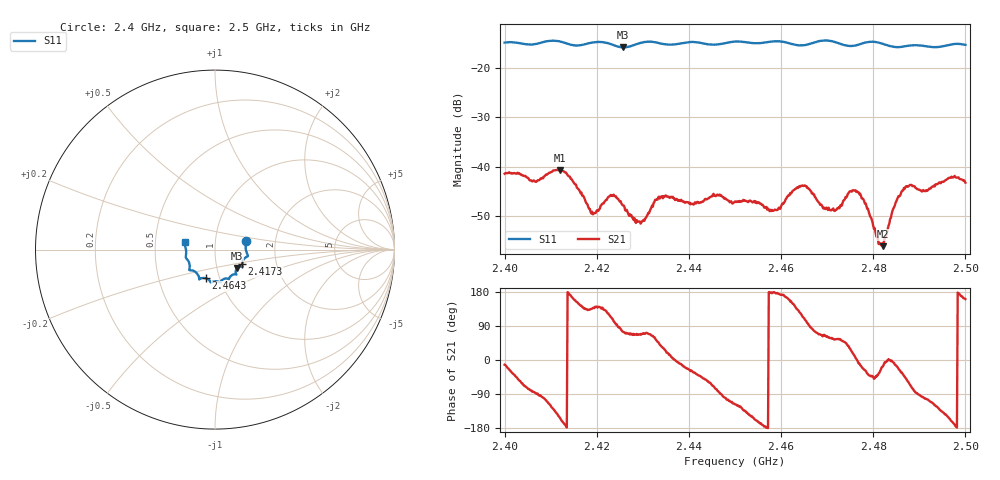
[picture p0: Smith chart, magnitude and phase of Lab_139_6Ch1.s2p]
# Hz S RI R 50
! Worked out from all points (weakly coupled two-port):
!   601 points, 2.4 GHz to 2.5 GHz, reference 50 ohm
!   highest |S21| = -40.65 dB at 2.412 GHz (marker M1); lowest = -56.1 dB at 2.4822 GHz (marker M2)
!   lowest |S11| = -15.9 dB at 2.4257 GHz (marker M3), VSWR 1.38, Z = 62.5 - j13.1 ohm
!   |S11| at or under -10 dB: start of sweep to end of sweep
!   S12 and S22 are empty: the file has one direction only
!   S11 on the Smith chart (normalised r, x): 2.4 GHz: 1.41, +0.14; 2.4173 GHz: 1.34, -0.22; 2.4643 GHz: 0.86, -0.28; 2.5 GHz: 0.72, +0.06
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2.4e9  0.1724 0.0491  0.00829 -0.00181  0 0  0 0
2.4065e9  0.1726 -0.00416  0.000597 -0.0071  0 0  0 0
2.412e9  0.1801 -0.0386  -0.00823 -0.0043  0 0  0 0
2.416667e9  0.1521 -0.0741  -0.0044 0.00327  0 0  0 0
2.417333e9  0.1514 -0.0816  -0.00349 0.00326  0 0  0 0
2.419167e9  0.1528 -0.0952  -0.00242 0.00224  0 0  0 0
2.423167e9  0.1445 -0.0937  -0.0019 0.0047  0 0  0 0
2.425667e9  0.1231 -0.1023  0.00108 0.00393  0 0  0 0
2.4295e9  0.1164 -0.1345  0.000966 0.00247  0 0  0 0
2.433333e9  0.1126 -0.1376  0.00333 0.00357  0 0  0 0
2.45e9  0.0291 -0.1813  -0.00202 -0.00396  0 0  0 0
2.458667e9  -0.0218 -0.1836  -0.00368 0.000167  0 0  0 0
2.464333e9  -0.0496 -0.1603  -0.00333 0.0054  0 0  0 0
2.466667e9  -0.0756 -0.1594  0.000654 0.00533  0 0  0 0
2.471333e9  -0.0878 -0.1615  0.00211 0.00314  0 0  0 0
2.476667e9  -0.1232 -0.1171  0.0055 -0.000462  0 0  0 0
2.481167e9  -0.1429 -0.108  0.00135 -0.000959  0 0  0 0
2.482167e9  -0.1414 -0.1009  0.00152 -0.000417  0 0  0 0
2.483333e9  -0.1407 -0.0897  0.00254 0.000104  0 0  0 0
2.485e9  -0.1445 -0.0717  0.0043 -0.00114  0 0  0 0
2.4875e9  -0.1578 -0.0527  0.00345 -0.00522  0 0  0 0
2.5e9  -0.1645 0.043  -0.00651 0.00228  0 0  0 0
